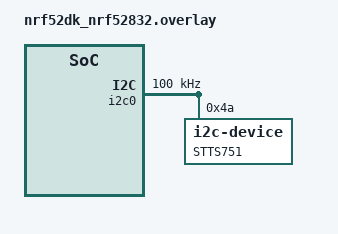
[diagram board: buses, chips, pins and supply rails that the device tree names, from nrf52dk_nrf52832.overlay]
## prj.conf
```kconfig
# --- Core Console & System ---
CONFIG_PRINTK=y
CONFIG_STDOUT_CONSOLE=y
CONFIG_REBOOT=y

# --- UI Module (UART) ---
CONFIG_SERIAL=y
CONFIG_UART_ASYNC_API=y

# --- Hardware & Formatting ---
CONFIG_I2C=y
CONFIG_CBPRINTF_FP_SUPPORT=y
```

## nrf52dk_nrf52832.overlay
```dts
&i2c0 {
    compatible = "nordic,nrf-twim";
    status = "okay";

    clock-frequency = <I2C_BITRATE_STANDARD>;

     mysensor: mysensor@3b{
        status = "okay";
        compatible = "i2c-device";
        reg = <0x4a>;
       
        label = "STTS751";
        
    };
};

// /* For node Configuration */
// &pinctrl {
// 	uart0_default: uart0_default {
// 		group1 {
// 			psels = <NRF_PSEL(UART_TX, 0, 24)>, //6   for nrf52dk5832 / 5840
// 				<NRF_PSEL(UART_RX, 0, 23)>,   //8	  for nrf52dk5832
// 				<NRF_PSEL(UART_RTS, 0, 5)>,
// 				<NRF_PSEL(UART_CTS, 0, 7)>;
// 		};
// 	};

// 	uart0_sleep: uart0_sleep {
// 		group1 {
// 			psels = <NRF_PSEL(UART_TX, 0, 24)>,    //6
// 				<NRF_PSEL(UART_RX, 0, 23)>,        //8
// 				<NRF_PSEL(UART_RTS, 0, 5)>,
// 				<NRF_PSEL(UART_CTS, 0, 7)>;
// 			low-power-enable;
// 		};
// 	};
// 	i2c0_default: i2c0_default {
// 		group1 {
// 			psels = <NRF_PSEL(TWIM_SDA, 0, 26)>,  
// 				<NRF_PSEL(TWIM_SCL, 0, 25)>;      
// 		};
// 	};

// 	i2c0_sleep: i2c0_sleep {
// 		group1 {
// 			psels = <NRF_PSEL(TWIM_SDA, 0, 26)>,   
// 				<NRF_PSEL(TWIM_SCL, 0, 25)>;        
// 			low-power-enable;
// 		};
// 	};
// };
```

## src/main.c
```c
#include <zephyr/kernel.h>        // Required for k_msleep
#include <zephyr/device.h>
#include <zephyr/devicetree.h>
#include <zephyr/drivers/i2c.h>
#include <zephyr/sys/printk.h>    // Native Zephyr logging
#include "ui.h"                   // Custom UI module

#define stts751TempHighReg 0x00 // Define the register address for temperature high byte
#define stts751TempLowReg 0x02  // Define the register address for temperature low byte
#define stts751ConfigReg 0x03   // Define the register address for configuration

#define I2C_NODE DT_NODELABEL(mysensor) // Define the I2C node label as 'mysensor'

int main(void) // Updated to Zephyr standard int main(void)
{
    if (ui_init() != 0) return -1;
    int ret; 

    static const struct i2c_dt_spec devI2c = I2C_DT_SPEC_GET(I2C_NODE); 
    
    // Check if the I2C bus associated with the device is ready
    if (!device_is_ready(devI2c.bus))
    {                                                           
        printk("I2C bus %s is not ready!\n\r", devI2c.bus->name); 
        return -1;                                                     
    }

    uint8_t buffer[2] = {stts751ConfigReg, 0x8C};        // Define a buffer containing data to be written
    ret = i2c_write_dt(&devI2c, buffer, sizeof(buffer)); // Write data to the I2C device
    if (ret != 0)
    {                                                                                           
        printk("Failed to write to I2C device address %x at Reg. %x \n", devI2c.addr, buffer[0]); 
        return -1;                                                                                     
    }

    while (1)
    { 
        uint8_t temp_reading[2] = {0};                                             // Array to store temperature readings
        uint8_t sensor_regs[2] = {stts751TempLowReg, stts751TempHighReg};          // Array containing the sensor register addresses
        
        // Read low byte
        ret = i2c_write_read_dt(&devI2c, &sensor_regs[0], 1, &temp_reading[0], 1); 
        if (ret != 0)
        {                                                                                                   
            printk("Failed to write/read I2C device address %x at Reg. %x \r\n", devI2c.addr, sensor_regs[0]); 
        }
        
        // Read high byte
        ret = i2c_write_read_dt(&devI2c, &sensor_regs[1], 1, &temp_reading[1], 1); 
        if (ret != 0)
        {                                                                                                   
            printk("Failed to write/read I2C device address %x at Reg. %x \r\n", devI2c.addr, sensor_regs[1]); 
        }

        // Calculate the temperature value from the raw temperature readings
        int temp = ((int)temp_reading[1] * 256 + ((int)temp_reading[0] & 0xF0)) / 16; 
        if (temp > 2047)                                                            
        {
            temp -= 4096; // Adjust the temperature value for negative temperatures
        }

        double cTemp = temp * 0.0625; // Convert the temperature value to Celsius
        double fTemp = cTemp * 1.8 + 32; // Convert to Fahrenheit

        // Print the temperature in Celsius and Fahrenheit
        printk("STTS751: Temperature: %.2f °C | %.2f °F\n", cTemp, fTemp); 
        
        // Get the updated delay interval from the UI
        int target_ms = ui_get_interval_ms();
        int elapsed_ms = 0;

        // Check for updates every 100ms while waiting for next reading
        while (elapsed_ms < target_ms) {
            if (ui_interval_changed()) {
                ui_clear_change_flag();
                break; // Restart loop with new interval immediately
            }
            k_msleep(100);
            elapsed_ms += 100;
        }
    }
    
    return 0;
}
```
